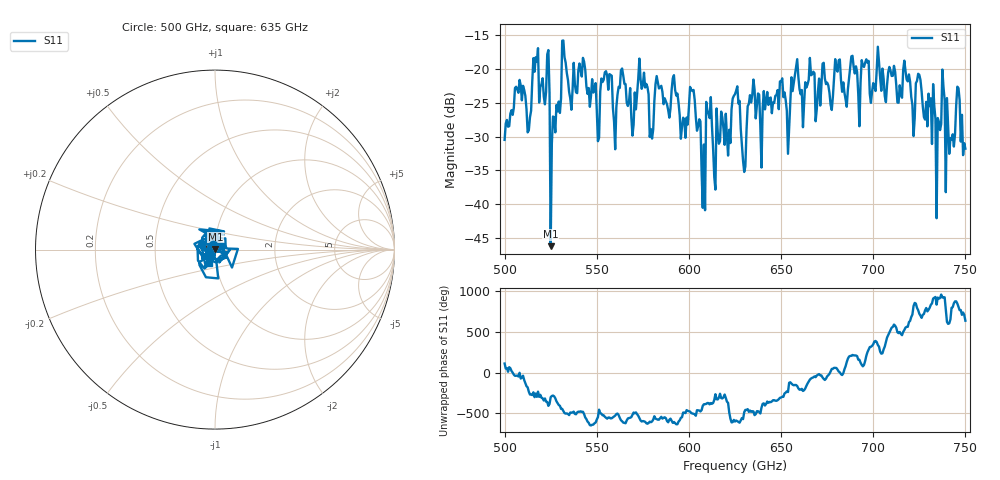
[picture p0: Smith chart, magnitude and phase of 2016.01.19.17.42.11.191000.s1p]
!Created with skrf (http://scikit-rf.org).
# GHz S RI R 50.0
!freq ReS11 ImS11
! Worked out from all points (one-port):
!   401 points, 500 GHz to 750 GHz, reference 50 ohm
!   lowest |S11| = -46.2 dB at 525 GHz (marker M1), VSWR 1.01, Z = 50.2 + j0.427 ohm
!   |S11| at or under -10 dB: start of sweep to end of sweep
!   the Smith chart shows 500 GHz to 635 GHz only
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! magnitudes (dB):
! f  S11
! 500 GHz  -30.5
! 506.9 GHz  -23.1
! 513.1 GHz  -29.1
! 516.9 GHz  -18.3
! 523.1 GHz  -17.9
! 525 GHz  -46.2
! 526.2 GHz  -27.0
! 531.2 GHz  -15.8
! 550.6 GHz  -30.7
! 562.5 GHz  -22.8
! 570 GHz  -28.2
! 574.4 GHz  -22.9
! 580 GHz  -30.3
! 583.1 GHz  -22.0
! 593.8 GHz  -23.6
! 601.9 GHz  -23.3
! 607.5 GHz  -40.5
! 610.6 GHz  -26.6
! 614.4 GHz  -37.8
! 625 GHz  -23.7
! 630 GHz  -35.2
! 634.4 GHz  -23.9
! 656.2 GHz  -23.3
! 687.5 GHz  -19.9
! 718.8 GHz  -21.9
! 735.6 GHz  -27.8
! 745.6 GHz  -22.6
! 750 GHz  -31.8
